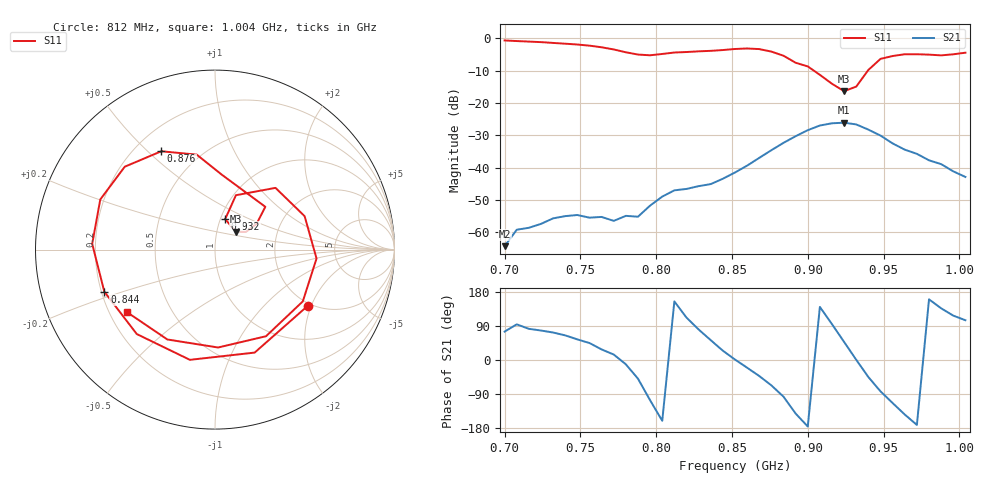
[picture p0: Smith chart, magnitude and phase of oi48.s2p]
# Hz S RI R 50
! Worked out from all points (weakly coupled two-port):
!   39 points, 700 MHz to 1.004 GHz, reference 50 ohm
!   highest |S21| = -26.11 dB at 924 MHz (marker M1); lowest = -64.3 dB at 700 MHz (marker M2)
!   lowest |S11| = -16.3 dB at 924 MHz (marker M3), VSWR 1.36, Z = 61.6 + j12.6 ohm
!   |S11| at or under -10 dB: 904 MHz to 939.6 MHz (35.6 MHz wide, 3.86 % of centre)
!   S12 and S22 are empty: the file has one direction only
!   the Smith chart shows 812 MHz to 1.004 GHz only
!   S11 on the Smith chart (normalised r, x): 812 MHz: 1.91, -1.88; 844 MHz: 0.21, -0.18; 876 MHz: 0.31, +0.55; 932 MHz: 1.05, +0.37; 1.004 GHz: 0.27, -0.30
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7e8  0.7623 0.53  0.000157 0.000586  0 0  0 0
7.24e8  0.8346 -0.2621  0.000285 0.00131  0 0  0 0
7.4e8  0.4439 -0.6976  0.000751 0.00161  0 0  0 0
7.56e8  -0.1939 -0.7468  0.00119 0.00118  0 0  0 0
7.72e8  -0.6474 -0.186  0.00145 0.000373  0 0  0 0
7.8e8  -0.5628 0.2325  0.00175 -0.000354  0 0  0 0
7.88e8  -0.2075 0.5219  0.00113 -0.00132  0 0  0 0
7.96e8  0.2657 0.4785  -0.000726 -0.00247  0 0  0 0
8.04e8  0.5609 0.1206  -0.00335 -0.00119  0 0  0 0
8.12e8  0.5155 -0.3143  -0.00401 0.0019  0 0  0 0
8.28e8  -0.14 -0.6142  0.000844 0.00508  0 0  0 0
8.44e8  -0.6166 -0.2347  0.00611 0.00279  0 0  0 0
8.52e8  -0.6841 0.0318  0.00839 0.000179  0 0  0 0
8.76e8  -0.2993 0.5478  0.00726 -0.0171  0 0  0 0
9e8  0.2803 0.2385  -0.0378 -0.00301  0 0  0 0
9.08e8  0.2318 0.1433  -0.0343 0.0288  0 0  0 0
9.24e8  0.1148 0.1  0.0334 0.0365  0 0  0 0
9.32e8  0.0569 0.1701  0.0465 0.000362  0 0  0 0
9.48e8  0.3371 0.344  0.00396 -0.031  0 0  0 0
9.56e8  0.4993 0.1863  -0.00948 -0.0217  0 0  0 0
9.8e8  0.2842 -0.4826  -0.0122 0.00441  0 0  0 0
1.004e9  -0.4875 -0.3503  -0.00185 0.00692  0 0  0 0
